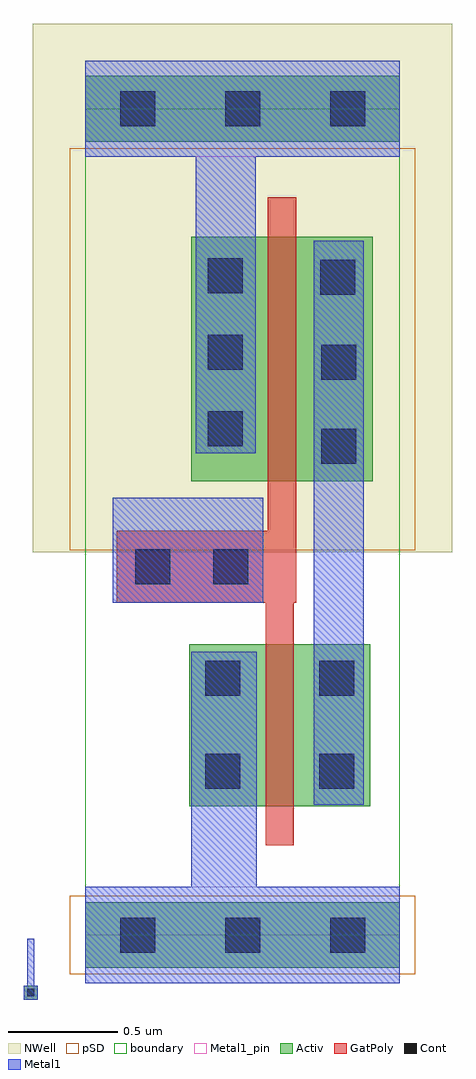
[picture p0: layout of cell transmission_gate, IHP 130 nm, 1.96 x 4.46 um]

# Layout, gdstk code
import gdstk
lib = gdstk.Library(unit=1e-6, precision=1e-09)
def R(c, l, rs):  # rectangles x0, y0, x1, y1
    for r in rs: c.add(gdstk.rectangle(r[:2], r[2:], *l))
def A(c, l, x, y, w, h, nx, ny, dx, dy):  # array of equal rectangles
    R(c, l, [(x+i*dx, y+j*dy, x+i*dx+w, y+j*dy+h) for i in range(nx) for j in range(ny)])
def P(c, l, *ps):  # polygons
    for p in ps: c.add(gdstk.Polygon(p, *l))
Activ = (1, 0)
GatPoly = (5, 0)
Cont = (6, 0)
Metal1 = (8, 0)
Metal1_pin = (8, 2)
pSD = (14, 0)
NWell = (31, 0)
boundary = (189, 4)

sg13g2_inv_1 = lib.new_cell('sg13g2_inv_1')
R(sg13g2_inv_1, Activ, [(0,-0.15,1.44,0.15), (0.475,0.59,1.305,1.33), (0.485,2.075,1.315,3.195), (0,3.63,1.44,3.93)])
P(sg13g2_inv_1, GatPoly, [(0.825,0.41),(0.825,1.52),(0.145,1.52),(0.145,1.85),(0.835,1.85),(0.835,3.375),(0.965,3.375),(0.965,1.52),(0.955,1.52),(0.955,0.41)])
A(sg13g2_inv_1, Cont, 0.56, 2.235, 0.16, 0.16, 1, 3, 0, 0.35)
R(sg13g2_inv_1, Cont, [(0.16,-0.08,0.32,0.08), (0.16,-0.08,0.32,0.08), (0.64,-0.08,0.8,0.08), (0.64,-0.08,0.8,0.08), (1.12,-0.08,1.28,0.08), (1.12,-0.08,1.28,0.08), (0.55,0.67,0.71,0.83), (1.07,0.67,1.23,0.83), (0.55,1.095,0.71,1.255), (1.07,1.095,1.23,1.255), (0.23,1.605,0.39,1.765), (0.585,1.605,0.745,1.765), (1.08,2.155,1.24,2.315), (1.08,2.54,1.24,2.7), (1.075,2.93,1.235,3.09), (0.16,3.7,0.32,3.86), (0.16,3.7,0.32,3.86), (0.64,3.7,0.8,3.86), (0.64,3.7,0.8,3.86), (1.12,3.7,1.28,3.86), (1.12,3.7,1.28,3.86)])
R(sg13g2_inv_1, Metal1, [(1.045,0.595,1.275,3.175), (0.125,1.52,0.815,2)])
P(sg13g2_inv_1, Metal1, [(0.505,2.205),(0.505,3.56),(0,3.56),(0,4),(1.44,4),(1.44,3.56),(0.78,3.56),(0.78,2.205)],
  [(0,-0.22),(0,0.22),(0.485,0.22),(0.485,1.295),(0.785,1.295),(0.785,0.22),(1.44,0.22),(1.44,-0.22)])
R(sg13g2_inv_1, Metal1_pin, [(0,-0.22,1.44,0.22), (1.045,0.595,1.275,3.175), (0.125,1.52,0.815,2), (0,3.56,1.44,4)])
R(sg13g2_inv_1, pSD, [(-0.07,-0.18,1.51,0.18), (-0.07,1.76,1.51,3.6)])
R(sg13g2_inv_1, NWell, [(-0.24,1.75,1.68,4.17)])
R(sg13g2_inv_1, boundary, [(0,0,1.44,3.78)])
sg13g2_inv_1.add(gdstk.Label('Y', (1.17,1.69), layer=8, texttype=25))
sg13g2_inv_1.add(gdstk.Label('A', (0.485,1.76), layer=8, texttype=25))
sg13g2_inv_1.add(gdstk.Label('VSS', (0.72,-0.02), layer=8, texttype=25))
sg13g2_inv_1.add(gdstk.Label('VDD', (0.705,3.78), layer=8, texttype=25))

transmission_gate = lib.new_cell('transmission_gate')
R(transmission_gate, Activ, [(1.318,-0.095,1.382,-0.031)])
R(transmission_gate, Cont, [(1.334,-0.079,1.366,-0.046)])
R(transmission_gate, Metal1, [(1.318,-0.095,1.382,-0.031), (1.334,-0.064,1.366,0.184)])
R(transmission_gate, Metal1_pin, [(1.318,-0.095,1.382,-0.031)])
R(transmission_gate, pSD, [(1.318,-0.095,1.382,-0.031)])
transmission_gate.add(gdstk.Reference(sg13g2_inv_1, (1.6,0.2)))

lib.write_gds('transmission_gate.gds')
